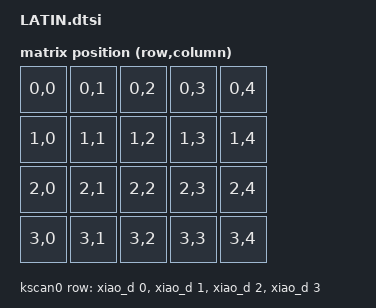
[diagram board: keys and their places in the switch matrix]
/*
 * Copyright (c) 2022 The ZMK Contributors
 *
 * SPDX-License-Identifier: MIT
 */

#include <dt-bindings/zmk/matrix_transform.h>
#include <physical_layouts.dtsi>

/ {
    chosen {
        zmk,kscan = &kscan0;
        zmk,physical-layout = &default_layout;
    };

    default_transform: keymap_transform_0 {
        compatible = "zmk,matrix-transform";
        columns = <5>;
        rows = <4>;
//             | SW01  | SW02  | SW03  | SW04  | SW05  |
//             | SW06  | SW07  | SW08  | SW09  | SW10  |
//             | SW11  | SW12  | SW13  | SW14  | SW15  |
//             | SW16  | SW17  | SW18  | SW19  | SW20  |
        map = <
                RC(0,0) RC(0,1) RC(0,2) RC(0,3) RC(0,4)
                RC(1,0) RC(1,1) RC(1,2) RC(1,3) RC(1,4)
                RC(2,0) RC(2,1) RC(2,2) RC(2,3) RC(2,4)
                RC(3,0) RC(3,1) RC(3,2) RC(3,3) RC(3,4)
        >;
    };

    kscan0: kscan_0 {
        compatible = "zmk,kscan-gpio-matrix";
        label = "KSCAN";

        diode-direction = "col2row";
        row-gpios
            = <&xiao_d 0 (GPIO_ACTIVE_HIGH | GPIO_PULL_DOWN)>
            , <&xiao_d 1 (GPIO_ACTIVE_HIGH | GPIO_PULL_DOWN)>
            , <&xiao_d 2 (GPIO_ACTIVE_HIGH | GPIO_PULL_DOWN)>
            , <&xiao_d 3 (GPIO_ACTIVE_HIGH | GPIO_PULL_DOWN)>
            ;
    };

    default_layout: default_layout {
        compatible = "zmk,physical-layout";
        display-name = "LATIN 4x5";

        kscan = <&kscan0>;
        transform = <&default_transform>;

        keys
            //                       w   h    x    y     rot    rx    ry
            = <&key_physical_attrs 100 100   0   0   0   0   0>
            , <&key_physical_attrs 100 100 100   0   0   0   0>
            , <&key_physical_attrs 100 100 200   0   0   0   0>
            , <&key_physical_attrs 100 100 300   0   0   0   0>
            , <&key_physical_attrs 100 100 400   0   0   0   0>
            , <&key_physical_attrs 100 100   0 100   0   0   0>
            , <&key_physical_attrs 100 100 100 100   0   0   0>
            , <&key_physical_attrs 100 100 200 100   0   0   0>
            , <&key_physical_attrs 100 100 300 100   0   0   0>
            , <&key_physical_attrs 100 100 400 100   0   0   0>
            , <&key_physical_attrs 100 100   0 200   0   0   0>
            , <&key_physical_attrs 100 100 100 200   0   0   0>
            , <&key_physical_attrs 100 100 200 200   0   0   0>
            , <&key_physical_attrs 100 100 300 200   0   0   0>
            , <&key_physical_attrs 100 100 400 200   0   0   0>
            , <&key_physical_attrs 100 100   0 300   0   0   0>
            , <&key_physical_attrs 100 100 100 300   0   0   0>
            , <&key_physical_attrs 100 100 200 300   0   0   0>
            , <&key_physical_attrs 100 100 300 300   0   0   0>
            , <&key_physical_attrs 100 100 400 300   0   0   0>
            ;
    };

    latin_position_map {
        compatible = "zmk,physical-layout-position-map";

        complete;

        five {
            physical-layout = <&default_layout>;
            positions
                = < 0  1  2  3  4>
                , < 5  6  7  8  9>
                , <10 11 12 13 14>
                , <15 16 17 18 19>
                ;
        };
    };
};
